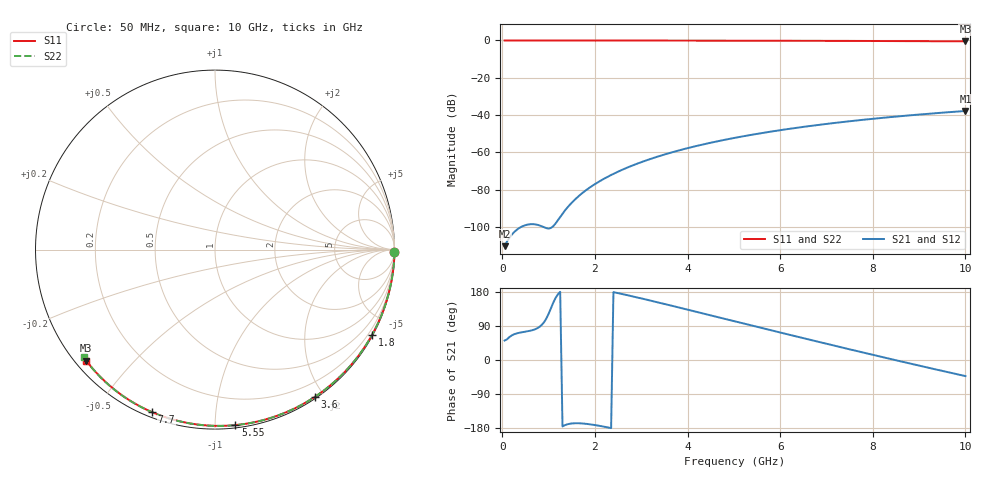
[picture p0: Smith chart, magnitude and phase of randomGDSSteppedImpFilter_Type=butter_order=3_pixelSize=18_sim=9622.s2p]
! freq	dB(S11)	phase(S11)	dB(S12)	phase(S12)
!  dB(S21)	phase(S21)	dB(S22)	phase(S22)
!S-par simulation data
#  GHz  S  DB  R 50
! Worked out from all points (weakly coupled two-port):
!   200 points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, 50 MHz to 10 GHz, reference 50 ohm
!   highest |S21| = -37.77 dB at 10 GHz (marker M1); lowest = -110.2 dB at 50 MHz (marker M2)
!   lowest |S11| = -0.5 dB at 10 GHz (marker M3), VSWR 36.81, Z = 1.55 - j18.6 ohm
!   |S11| at or under -10 dB: nowhere
!   |S22| runs from -0.5 to 0.0 dB; largest |S21 - S12| = 0
!   S11 on the Smith chart (normalised r, x): 50 MHz: open; 1.8 GHz: 0.03, -3.92; 3.6 GHz: 0.02, -1.88; 5.55 GHz: 0.02, -1.12; 7.7 GHz: 0.02, -0.68; 10 GHz: 0.03, -0.37
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0.05  -0.00 -0.8  -110.20 51.3  -110.20 51.3  -0.00 -0.8
0.45  -0.01 -7.3  -99.39 73.7  -99.39 73.7  -0.01 -7.3
0.9  -0.02 -14.5  -100.05 99.5  -100.05 99.5  -0.02 -14.6
1.75  -0.04 -27.9  -81.32 -167.7  -81.32 -167.7  -0.04 -28.1
1.8  -0.04 -28.6  -80.36 -168.3  -80.36 -168.3  -0.04 -28.9
1.85  -0.04 -29.4  -79.46 -169.0  -79.46 -169.0  -0.04 -29.7
2.05  -0.04 -32.5  -76.18 -172.7  -76.18 -172.7  -0.04 -32.9
2.2  -0.04 -34.8  -74.03 -176.0  -74.03 -176.0  -0.04 -35.2
2.55  -0.05 -40.2  -69.70 175.1  -69.70 175.1  -0.05 -40.6
2.95  -0.06 -46.3  -65.65 164.0  -65.65 164.0  -0.06 -46.7
3.4  -0.07 -53.0  -61.86 150.9  -61.86 150.9  -0.07 -53.5
3.6  -0.08 -55.9  -60.38 144.9  -60.38 144.9  -0.08 -56.5
3.9  -0.08 -60.3  -58.33 135.9  -58.33 135.9  -0.08 -60.9
4.3  -0.09 -66.0  -55.90 123.9  -55.90 123.9  -0.09 -66.7
5.05  -0.12 -76.5  -52.02 101.2  -52.02 101.2  -0.12 -77.3
5.55  -0.14 -83.3  -49.83 86.1  -49.83 86.1  -0.14 -84.1
6.1  -0.16 -90.7  -47.70 69.6  -47.70 69.6  -0.16 -91.5
6.7  -0.19 -98.5  -45.64 51.7  -45.64 51.7  -0.19 -99.4
7.7  -0.25 -111.2  -42.73 22.4  -42.73 22.4  -0.26 -112.2
8.35  -0.31 -119.2  -41.12 3.6  -41.12 3.6  -0.31 -120.3
9.2  -0.38 -129.6  -39.28 -20.4  -39.28 -20.4  -0.39 -130.8
10  -0.47 -139.2  -37.77 -42.5  -37.77 -42.5  -0.48 -140.7
